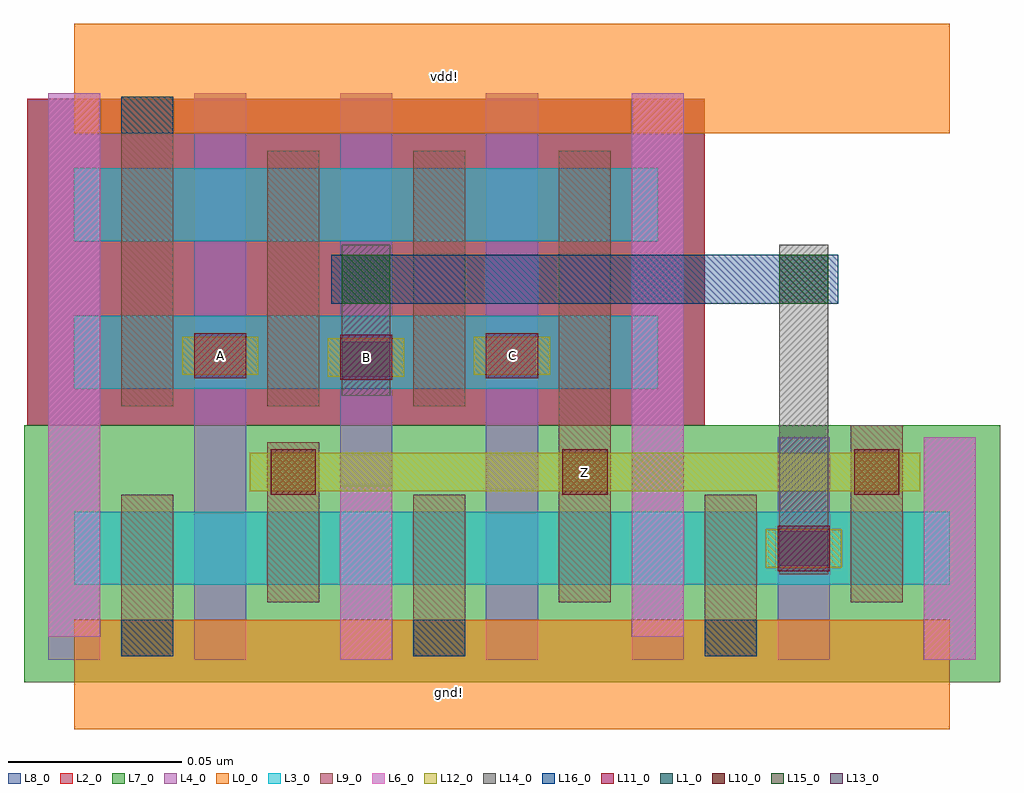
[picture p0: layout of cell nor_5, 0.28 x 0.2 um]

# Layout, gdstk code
from math import pi, radians
import gdstk
lib = gdstk.Library(unit=1e-6, precision=5e-10)
def R(c, l, rs):  # rectangles x0, y0, x1, y1
    for r in rs: c.add(gdstk.rectangle(r[:2], r[2:], *l))
def A(c, l, x, y, w, h, nx, ny, dx, dy):  # array of equal rectangles
    R(c, l, [(x+i*dx, y+j*dy, x+i*dx+w, y+j*dy+h) for i in range(nx) for j in range(ny)])
L0_0 = (0, 0)
L1_0 = (1, 0)
L2_0 = (2, 0)
L3_0 = (3, 0)
L4_0 = (4, 0)
L6_0 = (6, 0)
L7_0 = (7, 0)
L8_0 = (8, 0)
L9_0 = (9, 0)
L10_0 = (10, 0)
L11_0 = (11, 0)
L12_0 = (12, 0)
L13_0 = (13, 0)
L14_0 = (14, 0)
L15_0 = (15, 0)
L16_0 = (16, 0)

pmos = lib.new_cell('pmos')
R(pmos, L2_0, [(-0.042,-0.0205,0.042,0.0205)])
R(pmos, L3_0, [(-0.042,-0.0105,0.042,0.0105)])
A(pmos, L4_0, -0.0495, -0.032, 0.015, 0.064, 3, 1, 0.042, 0)
R(pmos, L8_0, [(-0.0555,-0.0205,0.0555,0.0205)])
R(pmos, L9_0, [(-0.0285,-0.0155,-0.0135,0.0155), (0.0135,-0.0155,0.0285,0.0155)])

m0a_m0b = lib.new_cell('M0A_M0B')
R(m0a_m0b, L9_0, [(-0.0075,-0.0055,0.0075,0.0055)])
R(m0a_m0b, L10_0, [(-0.0065,-0.0065,0.0065,0.0065)])
R(m0a_m0b, L12_0, [(-0.0125,-0.0055,0.0125,0.0055)])

nmos = lib.new_cell('nmos')
R(nmos, L3_0, [(-0.042,-0.0105,0.042,0.0105)])
A(nmos, L4_0, -0.0495, -0.032, 0.015, 0.064, 3, 1, 0.042, 0)
R(nmos, L7_0, [(-0.0555,-0.021,0.0555,0.0205)])
R(nmos, L9_0, [(-0.0285,-0.0155,-0.0135,0.0155), (0.0135,-0.0155,0.0285,0.0155)])

m0b_m1 = lib.new_cell('M0B_M1')
R(m0b_m1, L12_0, [(-0.011,-0.005,0.011,0.005)])
R(m0b_m1, L13_0, [(-0.007,-0.005,0.007,0.005)])
R(m0b_m1, L14_0, [(-0.007,-0.0075,0.007,0.0075)])

m1_m2 = lib.new_cell('M1_M2')
R(m1_m2, L14_0, [(-0.007,-0.01,0.007,0.01)])
R(m1_m2, L15_0, [(-0.007,-0.007,0.007,0.007)])
R(m1_m2, L16_0, [(-0.01,-0.007,0.01,0.007)])

gate_m0b = lib.new_cell('GATE_M0B')
R(gate_m0b, L4_0, [(-0.0075,-0.0115,0.0075,0.0115)])
R(gate_m0b, L11_0, [(-0.0075,-0.0065,0.0075,0.0065)])
R(gate_m0b, L12_0, [(-0.011,-0.0055,0.011,0.0055)])

bpr_m0a = lib.new_cell('BPR_M0A')
R(bpr_m0a, L0_0, [(-0.021,-0.0055,0.021,0.026)])
R(bpr_m0a, L1_0, [(-0.0075,-0.0055,0.0075,0.005)])
R(bpr_m0a, L9_0, [(-0.0075,-0.0165,0.0075,0.005)])

nor_5 = lib.new_cell('nor_5')
R(nor_5, L0_0, [(-0.089,-0.0545,0.163,-0.023), (0.0065,-0.0505,0.032,-0.0375), (-0.089,0.117,0.163,0.1485), (0.004,0.126,0.031,0.1415)])
R(nor_5, L2_0, [(-0.1025,0.033,0.0925,0.127)])
R(nor_5, L6_0, [(-0.0125,-0.0345,0.0025,0.0155), (0.1555,-0.0345,0.1705,0.0295), (-0.0965,-0.028,-0.0815,0.1285), (0.0715,-0.028,0.0865,0.1285)])
R(nor_5, L7_0, [(-0.1035,-0.041,0.1775,0.033)])
R(nor_5, L8_0, [(-0.1025,0.033,0.0925,0.127)])
R(nor_5, L9_0, [(0.0505,0.0065,0.0655,0.016), (-0.0335,0.008,-0.0185,0.028), (0.1345,0.0085,0.1495,0.033), (0.0505,0.0155,0.0655,0.048), (0.0085,0.066,0.0235,0.084), (0.0505,0.0665,0.0655,0.084), (-0.0755,0.067,-0.0605,0.0845), (-0.0335,0.067,-0.0185,0.084)])
R(nor_5, L12_0, [(-0.0385,0.014,0.0505,0.025), (0.0505,0.014,0.0655,0.025), (0.0665,0.014,0.1545,0.025), (-0.0125,0.047,0.0025,0.058), (-0.0545,0.0475,-0.0395,0.0585), (0.0295,0.0475,0.0445,0.0585)])
R(nor_5, L14_0, [(0.114,-0.0035,0.128,0.085), (-0.012,0.0415,0.002,0.085)])
R(nor_5, L16_0, [(-0.015,0.068,0.131,0.082)])
nor_5.add(gdstk.Reference(pmos, (0.037,0.0965)))
nor_5.add(gdstk.Reference(pmos, (0.037,0.054)))
nor_5.add(gdstk.Reference(pmos, (-0.005,0.054)))
nor_5.add(gdstk.Reference(pmos, (-0.005,0.0965)))
nor_5.add(gdstk.Reference(pmos, (-0.047,0.0965)))
nor_5.add(gdstk.Reference(pmos, (-0.047,0.054)))
nor_5.add(gdstk.Reference(m0a_m0b, (0.058,0.0195)))
nor_5.add(gdstk.Reference(m0a_m0b, (0.142,0.0195)))
nor_5.add(gdstk.Reference(m0a_m0b, (-0.026,0.0195)))
nor_5.add(gdstk.Reference(nmos, (0.121,-0.0025)))
nor_5.add(gdstk.Reference(nmos, (0.037,-0.0025)))
nor_5.add(gdstk.Reference(nmos, (-0.047,-0.0025)))
nor_5.add(gdstk.Reference(m0b_m1, (-0.005,0.052)))
nor_5.add(gdstk.Reference(m0b_m1, (0.121,-0.0025)))
nor_5.add(gdstk.Reference(m1_m2, (0.121,0.075)))
nor_5.add(gdstk.Reference(m1_m2, (-0.005,0.075)))
nor_5.add(gdstk.Reference(gate_m0b, (0.037,0.053)))
nor_5.add(gdstk.Reference(gate_m0b, (0.121,-0.0025)))
nor_5.add(gdstk.Reference(gate_m0b, (-0.047,0.053)))
nor_5.add(gdstk.Reference(gate_m0b, (-0.005,0.0525)))
nor_5.add(gdstk.Reference(bpr_m0a, (-0.068,0.1225)))
nor_5.add(gdstk.Reference(bpr_m0a, (0.1,-0.0285), rotation=pi))
nor_5.add(gdstk.Reference(bpr_m0a, (-0.068,-0.0285), rotation=pi))
nor_5.add(gdstk.Reference(bpr_m0a, (0.016,-0.0285), rotation=pi))
nor_5.add(gdstk.Label('B', (-0.005,0.0525), layer=12, texttype=0))
nor_5.add(gdstk.Label('Z', (0.058,0.0195), layer=12, texttype=0))
nor_5.add(gdstk.Label('A', (-0.047,0.053), layer=12, texttype=0))
nor_5.add(gdstk.Label('C', (0.037,0.053), layer=12, texttype=0))
nor_5.add(gdstk.Label('vdd!', (0.0175,0.1335), layer=0, texttype=0))
nor_5.add(gdstk.Label('gnd!', (0.019,-0.044), layer=0, texttype=0))

lib.write_gds('nor_5.gds')
